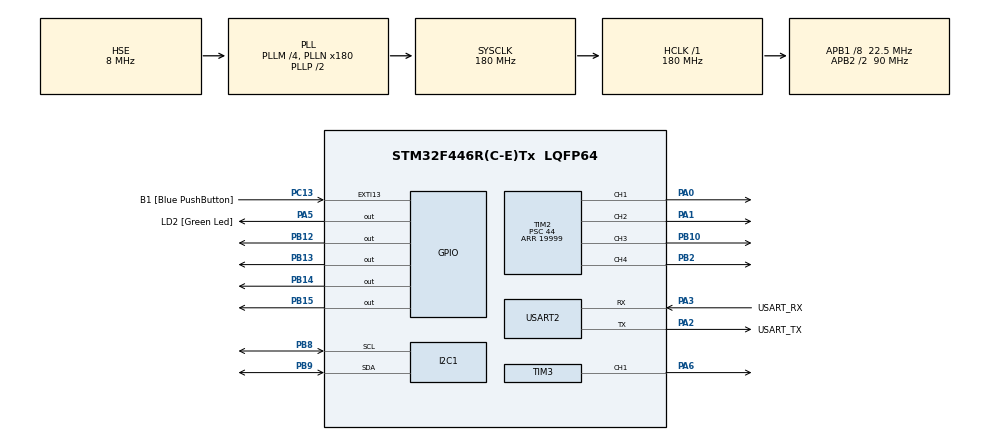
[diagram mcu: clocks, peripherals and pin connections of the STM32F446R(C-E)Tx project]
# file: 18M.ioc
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Mcu.Family=STM32F4
Mcu.Name=STM32F446R(C-E)Tx
Mcu.Package=LQFP64
NVIC.PriorityGroup=NVIC_PRIORITYGROUP_0
NVIC.TIM2_IRQn=true\:0\:0\:false\:false\:true\:true\:true\:true
NVIC.TIM3_IRQn=true\:0\:0\:false\:false\:true\:true\:true\:true
PA0-WKUP.Signal=S_TIM2_CH1_ETR
PA1.Signal=S_TIM2_CH2
PA13.GPIO_Label=TMS
PA13.Mode=Serial_Wire
PA13.Signal=SYS_JTMS-SWDIO
PA14.GPIO_Label=TCK
PA14.Mode=Serial_Wire
PA14.Signal=SYS_JTCK-SWCLK
PA2.GPIO_Label=USART_TX
PA2.Mode=Asynchronous
PA2.Signal=USART2_TX
PA3.GPIO_Label=USART_RX
PA3.Mode=Asynchronous
PA3.Signal=USART2_RX
PA5.GPIO_Label=LD2 [Green Led]
PA5.Signal=GPIO_Output
PA6.Signal=S_TIM3_CH1
PB10.Signal=S_TIM2_CH3
PB12.Signal=GPIO_Output
PB13.Signal=GPIO_Output
PB14.Signal=GPIO_Output
PB15.Signal=GPIO_Output
PB2.Signal=S_TIM2_CH4
PB3.GPIO_Label=SWO
PB3.Signal=SYS_JTDO-SWO
PB8.Mode=I2C
PB8.Signal=I2C1_SCL
PB9.Mode=I2C
PB9.Signal=I2C1_SDA
PC13.GPIO_Label=B1 [Blue PushButton]
PC13.GPIO_ModeDefaultEXTI=GPIO_MODE_IT_FALLING
PC13.Signal=GPXTI13
PC14-OSC32_IN.Mode=LSE-External-Oscillator
PC14-OSC32_IN.Signal=RCC_OSC32_IN
PC15-OSC32_OUT.Mode=LSE-External-Oscillator
PC15-OSC32_OUT.Signal=RCC_OSC32_OUT
PH0-OSC_IN.Mode=HSE-External-Oscillator
PH0-OSC_IN.Signal=RCC_OSC_IN
PH1-OSC_OUT.Mode=HSE-External-Oscillator
PH1-OSC_OUT.Signal=RCC_OSC_OUT
ProjectManager.HeapSize=0x200
ProjectManager.StackSize=0x400
ProjectManager.TargetToolchain=EWARM V8.50
RCC.48MHZClocksFreq_Value=84000000
RCC.AHBFreq_Value=180000000
RCC.APB1CLKDivider=RCC_HCLK_DIV8
RCC.APB1Freq_Value=22500000
RCC.APB1TimFreq_Value=45000000
RCC.APB2CLKDivider=RCC_HCLK_DIV2
RCC.APB2Freq_Value=90000000
RCC.APB2TimFreq_Value=180000000
RCC.CortexFreq_Value=180000000
RCC.FLatency-AdvancedSettings=FLASH_LATENCY_5
RCC.HCLKFreq_Value=180000000
RCC.HSE_VALUE=8000000
RCC.HSI_VALUE=16000000
RCC.PLLM=4
RCC.PLLN=180
RCC.PLLSourceVirtual=RCC_PLLSOURCE_HSE
RCC.SYSCLKFreq_VALUE=180000000
RCC.SYSCLKSource=RCC_SYSCLKSOURCE_PLLCLK
RCC.USBFreq_Value=180000000
RCC.VCOOutputFreq_Value=360000000
SH.S_TIM2_CH1_ETR.0=TIM2_CH1,PWM Generation1 CH1
SH.S_TIM2_CH2.0=TIM2_CH2,PWM Generation2 CH2
SH.S_TIM2_CH3.0=TIM2_CH3,PWM Generation3 CH3
SH.S_TIM2_CH4.0=TIM2_CH4,PWM Generation4 CH4
SH.S_TIM3_CH1.0=TIM3_CH1,PWM Generation1 CH1
TIM2.Channel-PWM\ Generation1\ CH1=TIM_CHANNEL_1
TIM2.Channel-PWM\ Generation2\ CH2=TIM_CHANNEL_2
TIM2.Channel-PWM\ Generation3\ CH3=TIM_CHANNEL_3
TIM2.Channel-PWM\ Generation4\ CH4=TIM_CHANNEL_4
TIM2.Period=19999
TIM2.Prescaler=44
TIM3.Channel-PWM\ Generation1\ CH1=TIM_CHANNEL_1
TIM3.Period=19999
TIM3.Prescaler=44
USART2.VirtualMode=VM_ASYNC
VP_TIM2_VS_ClockSourceINT.Mode=Internal
VP_TIM3_VS_ClockSourceINT.Mode=Internal
board=NUCLEO-F446RE

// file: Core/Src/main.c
/* USER CODE BEGIN Header */
/**
  ******************************************************************************
  * @file           : main.c
  * @brief          : Main program body
  ******************************************************************************
  * @attention
  *
  * Copyright (c) 2025 STMicroelectronics.
  * All rights reserved.
  *
  * This software is licensed under terms that can be found in the LICENSE file
  * in the root directory of this software component.
  * If no LICENSE file comes with this software, it is provided AS-IS.
  *
  ******************************************************************************
  */
/* USER CODE END Header */
#include "main.h"
#include "i2c.h"
#include "tim.h"
#include "usart.h"
#include "gpio.h"

/* USER CODE BEGIN Includes */
#include "servo.h"

/* USER CODE END Includes */

/* USER CODE BEGIN PV */
enum state {init, waitForCard, choose, deposit, withdraw, thankYou};

/* USER CODE END PV */

void SystemClock_Config(void);

int main(void)
{

  /* USER CODE BEGIN 1 */
  state = init;
  /* USER CODE END 1 */

  /* MCU Configuration--------------------------------------------------------*/

  /* Reset of all peripherals, Initializes the Flash interface and the Systick. */
  HAL_Init();

  /* Configure the system clock */
  SystemClock_Config();

  /* Initialize all configured peripherals */
  MX_GPIO_Init();
  MX_USART2_UART_Init();
  MX_I2C1_Init();
  MX_TIM2_Init();
  MX_TIM3_Init();
  /* USER CODE BEGIN 2 */
  HAL_TIM_PWM_Start(&htim2, TIM_CHANNEL_1);
  HAL_TIM_PWM_Start(&htim2, TIM_CHANNEL_2);
  HAL_TIM_PWM_Start(&htim2, TIM_CHANNEL_3);
  HAL_TIM_PWM_Start(&htim2, TIM_CHANNEL_4);
  HAL_TIM_PWM_Start(&htim3, TIM_CHANNEL_1);

  servo_t pennyServo;
  servo_t nickelServo;
  servo_t dimeServo;
  servo_t quarterServo;
  servo_t slotServo;

  pennyServo   = servo_new(&(htim2.instance->CCR1));
  nickelServo  = servo_new(&(htim2.instance->CCR2));
  dimeServo    = servo_new(&(htim2.instance->CCR3));
  quarterServo = servo_new(&(htim2.instance->CCR4));
  slotServo    = servo_new(&(htim3.instance->CCR1));
  /* USER CODE END 2 */

  /* Infinite loop */
  while (1)
  {

    /* USER CODE BEGIN 3 */
	  servo_angle(pennyServo, 0); // Position 0 degrees
	  HAL_Delay(2000);

	  servo_angle(pennyServo, 90); // Position 90 degrees
	  HAL_Delay(2000);

	  servo_angle(pennyServo, 180); // Position 180 degrees
	  HAL_Delay(2000);
  }
  /* USER CODE END 3 */
}

void SystemClock_Config(void)
{
  RCC_OscInitTypeDef RCC_OscInitStruct = {0};
  RCC_ClkInitTypeDef RCC_ClkInitStruct = {0};

  /** Configure the main internal regulator output voltage
  */
  __HAL_RCC_PWR_CLK_ENABLE();
  __HAL_PWR_VOLTAGESCALING_CONFIG(PWR_REGULATOR_VOLTAGE_SCALE1);

  /** Initializes the RCC Oscillators according to the specified parameters
  * in the RCC_OscInitTypeDef structure.
  */
  RCC_OscInitStruct.OscillatorType = RCC_OSCILLATORTYPE_HSE;
  RCC_OscInitStruct.HSEState = RCC_HSE_ON;
  RCC_OscInitStruct.PLL.PLLState = RCC_PLL_ON;
  RCC_OscInitStruct.PLL.PLLSource = RCC_PLLSOURCE_HSE;
  RCC_OscInitStruct.PLL.PLLM = 4;
  RCC_OscInitStruct.PLL.PLLN = 180;
  RCC_OscInitStruct.PLL.PLLP = RCC_PLLP_DIV2;
  RCC_OscInitStruct.PLL.PLLQ = 2;
  RCC_OscInitStruct.PLL.PLLR = 2;
  if (HAL_RCC_OscConfig(&RCC_OscInitStruct) != HAL_OK)
  {
    Error_Handler();
  }

  /** Activate the Over-Drive mode
  */
  if (HAL_PWREx_EnableOverDrive() != HAL_OK)
  {
    Error_Handler();
  }

  /** Initializes the CPU, AHB and APB buses clocks
  */
  RCC_ClkInitStruct.ClockType = RCC_CLOCKTYPE_HCLK|RCC_CLOCKTYPE_SYSCLK
                              |RCC_CLOCKTYPE_PCLK1|RCC_CLOCKTYPE_PCLK2;
  RCC_ClkInitStruct.SYSCLKSource = RCC_SYSCLKSOURCE_PLLCLK;
  RCC_ClkInitStruct.AHBCLKDivider = RCC_SYSCLK_DIV1;
  RCC_ClkInitStruct.APB1CLKDivider = RCC_HCLK_DIV8;
  RCC_ClkInitStruct.APB2CLKDivider = RCC_HCLK_DIV2;

  if (HAL_RCC_ClockConfig(&RCC_ClkInitStruct, FLASH_LATENCY_5) != HAL_OK)
  {
    Error_Handler();
  }
}

void Error_Handler(void)
{
  __disable_irq();
  while (1)
  {
  }
}
